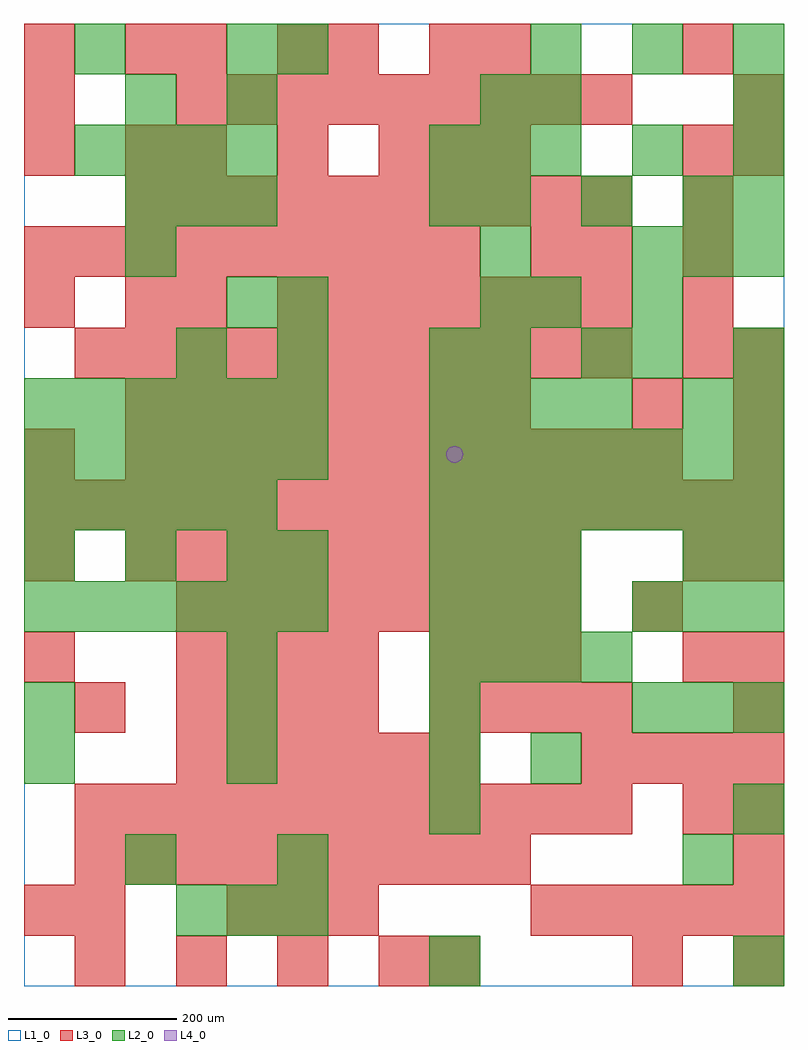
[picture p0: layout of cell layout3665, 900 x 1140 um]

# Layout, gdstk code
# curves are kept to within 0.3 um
import gdstk
lib = gdstk.Library(unit=1e-6, precision=1e-09)
def R(c, l, rs):  # rectangles x0, y0, x1, y1
    for r in rs: c.add(gdstk.rectangle(r[:2], r[2:], *l))
def A(c, l, x, y, w, h, nx, ny, dx, dy):  # array of equal rectangles
    R(c, l, [(x+i*dx, y+j*dy, x+i*dx+w, y+j*dy+h) for i in range(nx) for j in range(ny)])
def P(c, l, *ps):  # polygons
    for p in ps: c.add(gdstk.Polygon(p, *l))
L1_0 = (1, 0)
L2_0 = (2, 0)
L3_0 = (3, 0)
L4_0 = (4, 0)

layout3665 = lib.new_cell('layout3665')
R(layout3665, L1_0, [(0,0,900,1140)])
A(layout3665, L2_0, 180, 60, 60, 60, 3, 1, 60, 0)
A(layout3665, L2_0, 780, 120, 60, 60, 1, 4, 0, 180)
A(layout3665, L2_0, 0, 240, 60, 60, 3, 1, 240, 0)
A(layout3665, L2_0, 0, 300, 60, 60, 4, 1, 240, 0)
A(layout3665, L2_0, 840, 300, 60, 60, 1, 3, 0, 180)
A(layout3665, L2_0, 480, 360, 60, 60, 4, 2, 60, 300)
A(layout3665, L2_0, 0, 420, 60, 60, 6, 2, 60, 180)
A(layout3665, L2_0, 480, 420, 60, 60, 3, 2, 60, 60)
A(layout3665, L2_0, 720, 420, 60, 60, 3, 2, 60, 420)
A(layout3665, L2_0, 0, 480, 60, 60, 3, 1, 120, 0)
A(layout3665, L2_0, 0, 540, 60, 60, 5, 1, 60, 0)
A(layout3665, L2_0, 480, 540, 60, 60, 7, 2, 60, 60)
A(layout3665, L2_0, 0, 660, 60, 60, 6, 1, 60, 0)
A(layout3665, L2_0, 540, 720, 60, 60, 1, 3, 0, 60)
A(layout3665, L2_0, 120, 900, 60, 60, 3, 1, 60, 0)
A(layout3665, L2_0, 540, 900, 60, 60, 3, 1, 120, 0)
A(layout3665, L2_0, 840, 900, 60, 60, 1, 3, 0, 60)
A(layout3665, L2_0, 60, 960, 60, 60, 4, 1, 60, 0)
A(layout3665, L2_0, 480, 960, 60, 60, 3, 1, 60, 0)
A(layout3665, L2_0, 600, 1080, 60, 60, 3, 1, 120, 0)
R(layout3665, L2_0, [(480,0,540,60), (840,0,900,60), (120,120,180,180), (300,120,360,180), (480,180,540,240), (840,180,900,240), (600,240,660,300), (240,360,300,420), (300,480,360,540), (180,720,240,780), (300,720,360,780), (480,720,540,780), (660,720,720,780), (720,720,780,780), (840,720,900,780), (240,780,300,840), (300,780,360,840), (600,780,660,840), (720,780,780,840), (120,840,180,900), (480,900,540,960), (720,960,780,1020), (120,1020,180,1080), (240,1020,300,1080), (540,1020,600,1080), (600,1020,660,1080), (60,1080,120,1140), (240,1080,300,1140), (300,1080,360,1140)])
A(layout3665, L3_0, 60, 0, 60, 60, 4, 1, 120, 0)
A(layout3665, L3_0, 240, 60, 60, 60, 3, 1, 60, 0)
A(layout3665, L3_0, 600, 60, 60, 60, 5, 1, 60, 0)
A(layout3665, L3_0, 60, 120, 60, 60, 9, 1, 60, 0)
A(layout3665, L3_0, 60, 180, 60, 60, 11, 2, 60, 540)
A(layout3665, L3_0, 180, 240, 60, 60, 6, 1, 60, 0)
A(layout3665, L3_0, 660, 240, 60, 60, 4, 1, 60, 0)
A(layout3665, L3_0, 180, 300, 60, 60, 4, 2, 60, 60)
A(layout3665, L3_0, 480, 300, 60, 60, 4, 1, 60, 0)
A(layout3665, L3_0, 0, 360, 60, 60, 1, 3, 0, 120)
A(layout3665, L3_0, 480, 360, 60, 60, 3, 1, 60, 0)
A(layout3665, L3_0, 840, 360, 60, 60, 1, 3, 0, 120)
A(layout3665, L3_0, 180, 420, 60, 60, 8, 1, 60, 0)
A(layout3665, L3_0, 120, 480, 60, 60, 9, 1, 60, 0)
A(layout3665, L3_0, 0, 540, 60, 60, 15, 1, 60, 0)
A(layout3665, L3_0, 120, 600, 60, 60, 11, 1, 60, 0)
A(layout3665, L3_0, 120, 660, 60, 60, 8, 1, 60, 0)
A(layout3665, L3_0, 780, 720, 60, 60, 1, 5, 0, 60)
A(layout3665, L3_0, 300, 780, 60, 60, 7, 1, 60, 0)
A(layout3665, L3_0, 0, 840, 60, 60, 9, 1, 60, 0)
A(layout3665, L3_0, 120, 900, 60, 60, 10, 1, 60, 0)
A(layout3665, L3_0, 0, 960, 60, 60, 1, 3, 0, 60)
A(layout3665, L3_0, 180, 960, 60, 60, 3, 1, 120, 0)
A(layout3665, L3_0, 180, 1020, 60, 60, 9, 1, 60, 0)
R(layout3665, L3_0, [(480,0,540,60), (720,0,780,60), (840,0,900,60), (0,60,60,120), (60,60,120,120), (840,120,900,180), (780,180,840,240), (840,180,900,240), (60,300,120,360), (840,300,900,360), (780,360,840,420), (720,420,780,480), (780,480,840,540), (720,660,780,720), (840,660,900,720), (840,720,900,780), (0,780,60,840), (120,780,180,840), (180,780,240,840), (600,840,660,900), (660,840,720,900), (120,960,180,1020), (480,960,540,1020), (540,960,600,1020), (840,960,900,1020), (840,1020,900,1080), (120,1080,180,1140), (180,1080,240,1140), (300,1080,360,1140), (360,1080,420,1140), (480,1080,540,1140), (540,1080,600,1140), (780,1080,840,1140)])
P(layout3665, L4_0, [(520,630),(519.239,633.827),(517.071,637.071),(513.827,639.239),(510,640),(506.173,639.239),(502.929,637.071),(500.761,633.827),(500,630),(500.761,626.173),(502.929,622.929),(506.173,620.761),(510,620),(513.827,620.761),(517.071,622.929),(519.239,626.173)])

lib.write_gds('layout3665.gds')
